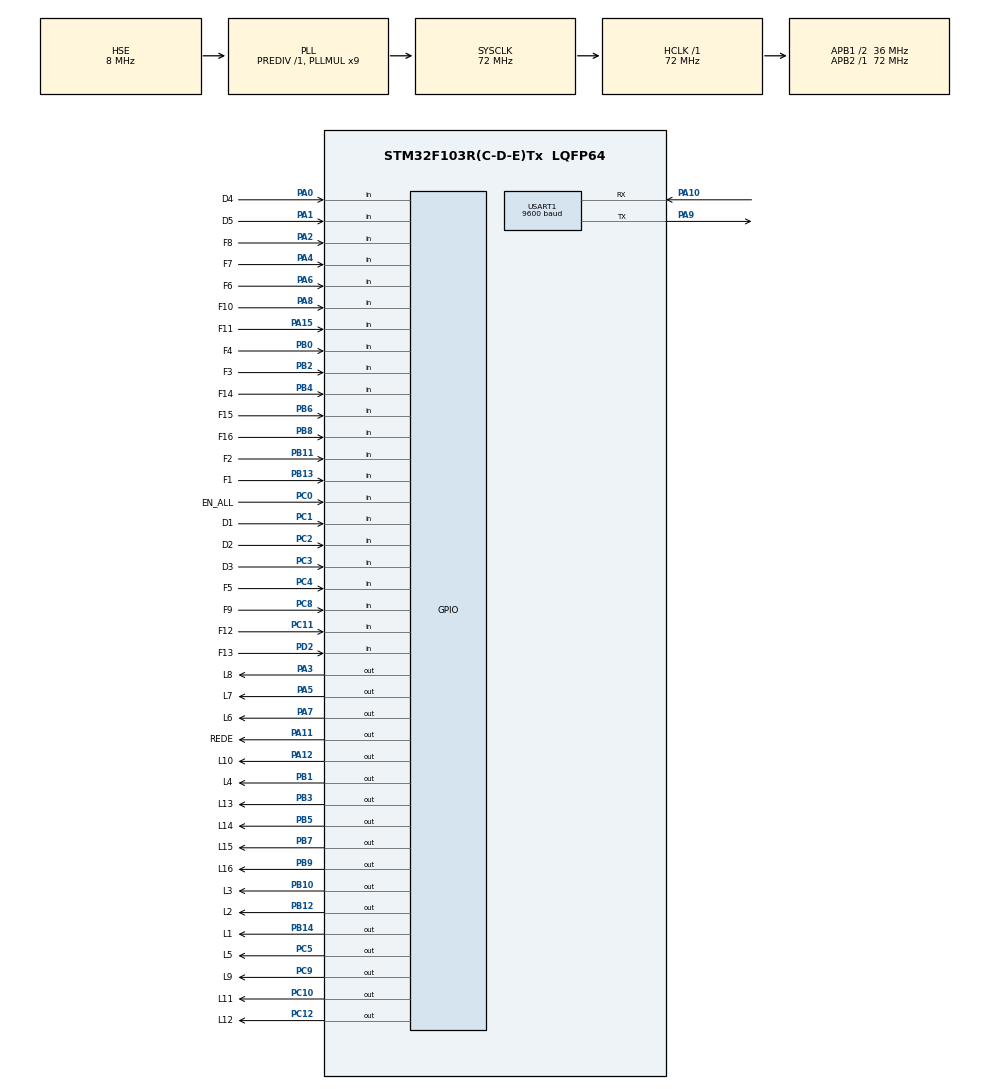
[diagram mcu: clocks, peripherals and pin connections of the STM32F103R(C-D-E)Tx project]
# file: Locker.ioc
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Mcu.Family=STM32F1
Mcu.Name=STM32F103R(C-D-E)Tx
Mcu.Package=LQFP64
NVIC.PriorityGroup=NVIC_PRIORITYGROUP_4
NVIC.USART1_IRQn=true\:0\:0\:false\:false\:true\:true\:true\:true
PA0-WKUP.GPIO_Label=D4
PA0-WKUP.Signal=GPIO_Input
PA1.GPIO_Label=D5
PA1.Signal=GPIO_Input
PA10.Mode=Asynchronous
PA10.Signal=USART1_RX
PA11.GPIO_Label=REDE
PA11.Signal=GPIO_Output
PA12.GPIO_Label=L10
PA12.Signal=GPIO_Output
PA13.Mode=Serial_Wire
PA13.Signal=SYS_JTMS-SWDIO
PA14.Mode=Serial_Wire
PA14.Signal=SYS_JTCK-SWCLK
PA15.GPIO_Label=F11
PA15.Signal=GPIO_Input
PA2.GPIO_Label=F8
PA2.Signal=GPIO_Input
PA3.GPIO_Label=L8
PA3.Signal=GPIO_Output
PA4.GPIO_Label=F7
PA4.Signal=GPIO_Input
PA5.GPIO_Label=L7
PA5.Signal=GPIO_Output
PA6.GPIO_Label=F6
PA6.Signal=GPIO_Input
PA7.GPIO_Label=L6
PA7.Signal=GPIO_Output
PA8.GPIO_Label=F10
PA8.Signal=GPIO_Input
PA9.Mode=Asynchronous
PA9.Signal=USART1_TX
PB0.GPIO_Label=F4
PB0.Signal=GPIO_Input
PB1.GPIO_Label=L4
PB1.Signal=GPIO_Output
PB10.GPIO_Label=L3
PB10.Signal=GPIO_Output
PB11.GPIO_Label=F2
PB11.Signal=GPIO_Input
PB12.GPIO_Label=L2
PB12.Signal=GPIO_Output
PB13.GPIO_Label=F1
PB13.Signal=GPIO_Input
PB14.GPIO_Label=L1
PB14.Signal=GPIO_Output
PB2.GPIO_Label=F3
PB2.Signal=GPIO_Input
PB3.GPIO_Label=L13
PB3.Signal=GPIO_Output
PB4.GPIO_Label=F14
PB4.Signal=GPIO_Input
PB5.GPIO_Label=L14
PB5.Signal=GPIO_Output
PB6.GPIO_Label=F15
PB6.Signal=GPIO_Input
PB7.GPIO_Label=L15
PB7.Signal=GPIO_Output
PB8.GPIO_Label=F16
PB8.Signal=GPIO_Input
PB9.GPIO_Label=L16
PB9.Signal=GPIO_Output
PC0.GPIO_Label=EN_ALL
PC0.Signal=GPIO_Input
PC1.GPIO_Label=D1
PC1.Signal=GPIO_Input
PC10.GPIO_Label=L11
PC10.Signal=GPIO_Output
PC11.GPIO_Label=F12
PC11.Signal=GPIO_Input
PC12.GPIO_Label=L12
PC12.Signal=GPIO_Output
PC2.GPIO_Label=D2
PC2.Signal=GPIO_Input
PC3.GPIO_Label=D3
PC3.Signal=GPIO_Input
PC4.GPIO_Label=F5
PC4.Signal=GPIO_Input
PC5.GPIO_Label=L5
PC5.Signal=GPIO_Output
PC8.GPIO_Label=F9
PC8.Signal=GPIO_Input
PC9.GPIO_Label=L9
PC9.Signal=GPIO_Output
PD0-OSC_IN.Mode=HSE-External-Oscillator
PD0-OSC_IN.Signal=RCC_OSC_IN
PD1-OSC_OUT.Mode=HSE-External-Oscillator
PD1-OSC_OUT.Signal=RCC_OSC_OUT
PD2.GPIO_Label=F13
PD2.Signal=GPIO_Input
ProjectManager.HeapSize=0x200
ProjectManager.StackSize=0x400
ProjectManager.TargetToolchain=STM32CubeIDE
RCC.AHBFreq_Value=72000000
RCC.APB1CLKDivider=RCC_HCLK_DIV2
RCC.APB1Freq_Value=36000000
RCC.APB1TimFreq_Value=72000000
RCC.APB2Freq_Value=72000000
RCC.APB2TimFreq_Value=72000000
RCC.HCLKFreq_Value=72000000
RCC.PLLMUL=RCC_PLL_MUL9
RCC.PLLSourceVirtual=RCC_PLLSOURCE_HSE
RCC.SYSCLKFreq_VALUE=72000000
RCC.SYSCLKSource=RCC_SYSCLKSOURCE_PLLCLK
RCC.USBFreq_Value=72000000
USART1.BaudRate=9600
USART1.VirtualMode=VM_ASYNC
board=custom

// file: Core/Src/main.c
/* USER CODE BEGIN Header */
/**
 ******************************************************************************
 * @file           : main.c
 * @brief          : Main program body
 ******************************************************************************
 * @attention
 *
 * Copyright (c) 2025 STMicroelectronics.
 * All rights reserved.
 *
 * This software is licensed under terms that can be found in the LICENSE file
 * in the root directory of this software component.
 * If no LICENSE file comes with this software, it is provided AS-IS.
 *
 ******************************************************************************
 */
/* USER CODE END Header */
#include "main.h"

/* USER CODE BEGIN Includes */
#include "command_rev.h"
#include "string.h"
#include "locker_func.h"
/* USER CODE END Includes */

UART_HandleTypeDef huart1;

void SystemClock_Config(void);
static void MX_GPIO_Init(void);
static void MX_USART1_UART_Init(void);

/* USER CODE BEGIN 0 */
uint8_t ADDRESS = 0x40;
uint32_t BAUD_RATE = 9600;
uint8_t UNLOCK_TIME = 100; //10ms step
uint8_t func_code = 0;
uint8_t tx_buff[30];
uint8_t rx_buff[30];
uint8_t last_en_button = 0;
/* USER CODE END 0 */

int main(void) {

	/* MCU Configuration--------------------------------------------------------*/

	/* Reset of all peripherals, Initializes the Flash interface and the Systick. */
	HAL_Init();

	/* Configure the system clock */
	SystemClock_Config();

	/* Initialize all configured peripherals */
	MX_GPIO_Init();
	MX_USART1_UART_Init();
	/* USER CODE BEGIN 2 */
	readAddress();
	HAL_UARTEx_ReceiveToIdle_IT(&huart1, rx_buff, 30);
	/* USER CODE END 2 */

	/* Infinite loop */
	/* USER CODE BEGIN WHILE */
	while (1) {
		HAL_Delay(1);
		switch (func_code) {
		case 1:
			broadcast_func();
			break;
		case 2:
			getMCUID_func();
			break;
		case 3:
			readConfig_func();
			break;
		case 4:
			writeConfig_func();
			break;
		case 5:
			readChannelStatus_func();
			break;
		case 6:
			writeChannel_func();
			break;
		case 7:
			readChannelSignalStatus_func();
			break;
		case 8:
			unlock_func();
			break;
		case 9:
			rusc1_func();
			break;
		case 10:
			rusc2_func();
			break;
		case 11:
			rusc3_func();
			break;
		default:
			uint8_t curr_en_button = HAL_GPIO_ReadPin(GPIOC, EN_ALL_Pin);
			if (curr_en_button == 0 && last_en_button == 1) {
				unlock_all();
			}
			last_en_button = curr_en_button;
			continue;
		}
		if(func_code != 0){
			memset(rx_buff, 0, sizeof(rx_buff));
		}
		func_code = 0;
		/* USER CODE END WHILE */

	}
}

void SystemClock_Config(void) {
	RCC_OscInitTypeDef RCC_OscInitStruct = { 0 };
	RCC_ClkInitTypeDef RCC_ClkInitStruct = { 0 };

	/** Initializes the RCC Oscillators according to the specified parameters
	 * in the RCC_OscInitTypeDef structure.
	 */
	RCC_OscInitStruct.OscillatorType = RCC_OSCILLATORTYPE_HSE;
	RCC_OscInitStruct.HSEState = RCC_HSE_ON;
	RCC_OscInitStruct.HSEPredivValue = RCC_HSE_PREDIV_DIV1;
	RCC_OscInitStruct.HSIState = RCC_HSI_ON;
	RCC_OscInitStruct.PLL.PLLState = RCC_PLL_ON;
	RCC_OscInitStruct.PLL.PLLSource = RCC_PLLSOURCE_HSE;
	RCC_OscInitStruct.PLL.PLLMUL = RCC_PLL_MUL9;
	if (HAL_RCC_OscConfig(&RCC_OscInitStruct) != HAL_OK) {
		Error_Handler();
	}

	/** Initializes the CPU, AHB and APB buses clocks
	 */
	RCC_ClkInitStruct.ClockType = RCC_CLOCKTYPE_HCLK | RCC_CLOCKTYPE_SYSCLK
			| RCC_CLOCKTYPE_PCLK1 | RCC_CLOCKTYPE_PCLK2;
	RCC_ClkInitStruct.SYSCLKSource = RCC_SYSCLKSOURCE_PLLCLK;
	RCC_ClkInitStruct.AHBCLKDivider = RCC_SYSCLK_DIV1;
	RCC_ClkInitStruct.APB1CLKDivider = RCC_HCLK_DIV2;
	RCC_ClkInitStruct.APB2CLKDivider = RCC_HCLK_DIV1;

	if (HAL_RCC_ClockConfig(&RCC_ClkInitStruct, FLASH_LATENCY_2) != HAL_OK) {
		Error_Handler();
	}
}

static void MX_USART1_UART_Init(void) {

	huart1.Instance = USART1;
	huart1.Init.BaudRate = BAUD_RATE;
	huart1.Init.WordLength = UART_WORDLENGTH_8B;
	huart1.Init.StopBits = UART_STOPBITS_1;
	huart1.Init.Parity = UART_PARITY_NONE;
	huart1.Init.Mode = UART_MODE_TX_RX;
	huart1.Init.HwFlowCtl = UART_HWCONTROL_NONE;
	huart1.Init.OverSampling = UART_OVERSAMPLING_16;
	if (HAL_UART_Init(&huart1) != HAL_OK) {
		Error_Handler();
	}

}

static void MX_GPIO_Init(void) {
	GPIO_InitTypeDef GPIO_InitStruct = { 0 };

	/* GPIO Ports Clock Enable */
	__HAL_RCC_GPIOD_CLK_ENABLE();
	__HAL_RCC_GPIOC_CLK_ENABLE();
	__HAL_RCC_GPIOA_CLK_ENABLE();
	__HAL_RCC_GPIOB_CLK_ENABLE();

	/*Configure GPIO pin Output Level */
	HAL_GPIO_WritePin(GPIOA, REDE_Pin, GPIO_PIN_RESET);

	HAL_GPIO_WritePin(GPIOA, L8_Pin | L7_Pin | L6_Pin | L10_Pin,
			GPIO_PIN_SET);

	/*Configure GPIO pin Output Level */
	HAL_GPIO_WritePin(GPIOC, L5_Pin | L9_Pin | L11_Pin | L12_Pin,
			GPIO_PIN_SET);

	/*Configure GPIO pin Output Level */
	HAL_GPIO_WritePin(GPIOB,
			L4_Pin | L3_Pin | L2_Pin | L1_Pin | L13_Pin | L14_Pin | L15_Pin
					| L16_Pin, GPIO_PIN_SET);

	/*Configure GPIO pins : EN_ALL_Pin D1_Pin D2_Pin D3_Pin
	 F5_Pin F9_Pin F12_Pin */
	GPIO_InitStruct.Pin = EN_ALL_Pin | D1_Pin | D2_Pin | D3_Pin | F5_Pin
			| F9_Pin | F12_Pin;
	GPIO_InitStruct.Mode = GPIO_MODE_INPUT;
	GPIO_InitStruct.Pull = GPIO_NOPULL;
	HAL_GPIO_Init(GPIOC, &GPIO_InitStruct);

	/*Configure GPIO pins : D4_Pin D5_Pin F8_Pin F7_Pin
	 F6_Pin F10_Pin F11_Pin */
	GPIO_InitStruct.Pin = D4_Pin | D5_Pin | F8_Pin | F7_Pin | F6_Pin | F10_Pin
			| F11_Pin;
	GPIO_InitStruct.Mode = GPIO_MODE_INPUT;
	GPIO_InitStruct.Pull = GPIO_NOPULL;
	HAL_GPIO_Init(GPIOA, &GPIO_InitStruct);

	/*Configure GPIO pins : L8_Pin L7_Pin L6_Pin REDE_Pin
	 L10_Pin */
	GPIO_InitStruct.Pin = REDE_Pin;
	GPIO_InitStruct.Mode = GPIO_MODE_OUTPUT_PP;
	GPIO_InitStruct.Pull = GPIO_NOPULL;
	GPIO_InitStruct.Speed = GPIO_SPEED_FREQ_LOW;
	HAL_GPIO_Init(GPIOA, &GPIO_InitStruct);

	GPIO_InitStruct.Pin = L8_Pin | L7_Pin | L6_Pin | L10_Pin;
	GPIO_InitStruct.Mode = GPIO_MODE_OUTPUT_OD;
	GPIO_InitStruct.Pull = GPIO_NOPULL;
	GPIO_InitStruct.Speed = GPIO_SPEED_FREQ_LOW;
	HAL_GPIO_Init(GPIOA, &GPIO_InitStruct);

	/*Configure GPIO pins : L5_Pin L9_Pin L11_Pin L12_Pin */
	GPIO_InitStruct.Pin = L5_Pin | L9_Pin | L11_Pin | L12_Pin;
	GPIO_InitStruct.Mode = GPIO_MODE_OUTPUT_OD;
	GPIO_InitStruct.Pull = GPIO_NOPULL;
	GPIO_InitStruct.Speed = GPIO_SPEED_FREQ_LOW;
	HAL_GPIO_Init(GPIOC, &GPIO_InitStruct);

	/*Configure GPIO pins : F4_Pin F3_Pin F2_Pin F1_Pin
	 F14_Pin F15_Pin F16_Pin */
	GPIO_InitStruct.Pin = F4_Pin | F3_Pin | F2_Pin | F1_Pin | F14_Pin | F15_Pin
			| F16_Pin;
	GPIO_InitStruct.Mode = GPIO_MODE_INPUT;
	GPIO_InitStruct.Pull = GPIO_NOPULL;
	HAL_GPIO_Init(GPIOB, &GPIO_InitStruct);

	/*Configure GPIO pins : L4_Pin L3_Pin L2_Pin L1_Pin
	 L13_Pin L14_Pin L15_Pin L16_Pin */
	GPIO_InitStruct.Pin = L4_Pin | L3_Pin | L2_Pin | L1_Pin | L13_Pin | L14_Pin
			| L15_Pin | L16_Pin;
	GPIO_InitStruct.Mode = GPIO_MODE_OUTPUT_OD;
	GPIO_InitStruct.Pull = GPIO_NOPULL;
	GPIO_InitStruct.Speed = GPIO_SPEED_FREQ_LOW;
	HAL_GPIO_Init(GPIOB, &GPIO_InitStruct);

	/*Configure GPIO pin : F13_Pin */
	GPIO_InitStruct.Pin = F13_Pin;
	GPIO_InitStruct.Mode = GPIO_MODE_INPUT;
	GPIO_InitStruct.Pull = GPIO_NOPULL;
	HAL_GPIO_Init(F13_GPIO_Port, &GPIO_InitStruct);

}

void Error_Handler(void) {
	__disable_irq();
	while (1) {
	}
}
